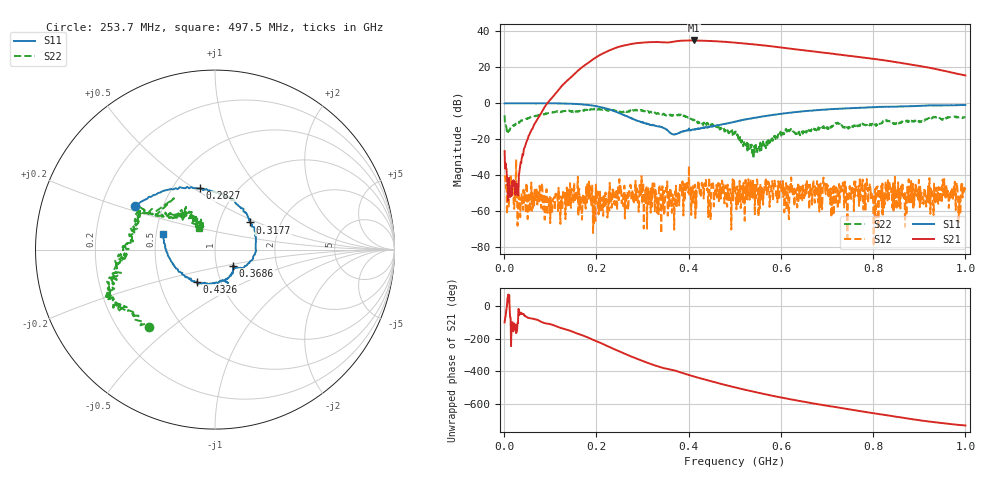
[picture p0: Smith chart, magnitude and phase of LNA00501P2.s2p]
! Created with skrf 1.9.0 (http://scikit-rf.org).
# Hz S RI R 50.0
!freq ReS11 ImS11 ReS21 ImS21 ReS12 ImS12 ReS22 ImS22
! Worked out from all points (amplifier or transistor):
!   1001 points, 1 MHz to 1 GHz, reference 50 ohm
!   highest |S21| = 34.9 dB at 410.6 MHz (marker M1)
!   |S21| within 3 dB of that: 256.7 MHz to 571.2 MHz (314.5 MHz wide, 76 % of centre)
!   unconditionally stable (mu >= 1): 198.9 MHz to 284.5 MHz; 298.7 MHz to 400.2 MHz; 400.9 MHz to end of sweep (the widest 3 of 36)
!   at 166.8 MHz: K = 1.99, MAG = 32.2 dB, |S12| = -56.1 dB
!   at 500.5 MHz: K = 2.13, MAG = 34.3 dB, |S12| = -46.8 dB
!   at 1 GHz: K = 3.06, MAG = 24.1 dB, |S12| = -48.1 dB
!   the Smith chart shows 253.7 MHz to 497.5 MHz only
!   S11 on the Smith chart (normalised r, x): 253.7 MHz: 0.35, +0.23; 282.7 MHz: 0.68, +0.53; 317.7 MHz: 1.40, +0.45; 368.6 MHz: 1.20, -0.22; 432.6 MHz: 0.77, -0.29; 497.5 MHz: 0.55, +0.10
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1000000  0.9858 0.00108  -0.00678 -0.0462  -0.00749 0.00464  0.3472 0.307
1.08892e8  0.5305 -0.8418  -0.7862 -1.514  0.00133 -0.0021  0.4198 -0.3732
1.67833e8  -0.2108 -0.9076  -9.789 -0.6882  -0.00131 -0.000889  0.0517 -0.6343
2.13787e8  -0.6785 -0.3457  -15.31 18.63  -0.000197 0.00106  -0.2364 -0.6364
2.32768e8  -0.6447 -0.0264  -7.674 30.44  -0.000738 -0.00099  -0.2714 -0.5839
2.53747e8  -0.443 0.2436  8.175 37.62  -0.00416 8.57e-05  -0.3677 -0.4333
2.82718e8  -0.0834 0.3412  33.54 31.48  -0.00286 0.000387  -0.5766 -0.2699
3.17683e8  0.1966 0.1512  49.92 4.823  0.000872 0.000252  -0.5488 -0.1299
3.34666e8  0.2263 0.0124  49.57 -9.548  -0.000821 5.71e-05  -0.5178 -0.0172
3.68632e8  0.1006 -0.09  43.03 -29.3  -0.000282 -0.000115  -0.4436 0.1719
3.9061e8  0.0852 -0.1443  32.42 -44.94  0.000164 0.0018  -0.398 0.2152
4.1059e8  0.00643 -0.1837  17.67 -52.97  0.000443 0.00165  -0.2973 0.1833
4.32568e8  -0.0988 -0.1798  0.5482 -54.76  0.00224 4.26e-05  -0.2007 0.2075
4.62538e8  -0.2279 -0.0901  -19.96 -48.63  0.00265 0.00483  -0.136 0.1848
4.97503e8  -0.2887 0.0855  -35.91 -33.16  0.00261 -0.00151  -0.0915 0.122
5.005e8  -0.2892 0.0983  -37.09 -31.74  0.00213 -0.00405  -0.0903 0.1147
5.4046e8  -0.2395 0.3074  -42.1 -10.64  -0.000466 -0.00253  -0.025 0.0148
5.88412e8  -0.0541 0.4842  -36.02 9.767  0.00511 -0.000542  -0.0766 -0.0663
6.67333e8  0.3199 0.5394  -15.07 23.33  -0.000749 -0.00133  -0.1868 -0.044
7.53247e8  0.6301 0.3748  2.643 20.29  -0.000696 -0.00509  -0.2337 -0.0102
8.34166e8  0.7882 0.1384  10.32 10.84  -0.000387 -0.00184  -0.3235 -0.0244
1e9  0.8122 -0.3859  5.776 -1.49  -0.00172 0.00354  -0.3324 0.2366
